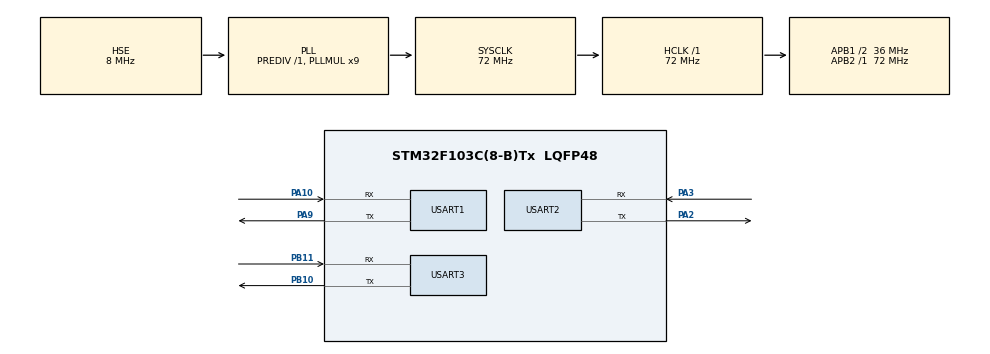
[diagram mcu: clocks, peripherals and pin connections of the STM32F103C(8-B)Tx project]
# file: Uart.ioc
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Mcu.Family=STM32F1
Mcu.Name=STM32F103C(8-B)Tx
Mcu.Package=LQFP48
NVIC.PriorityGroup=NVIC_PRIORITYGROUP_4
PA10.Mode=Asynchronous
PA10.Signal=USART1_RX
PA2.Mode=Asynchronous
PA2.Signal=USART2_TX
PA3.Mode=Asynchronous
PA3.Signal=USART2_RX
PA9.Mode=Asynchronous
PA9.Signal=USART1_TX
PB10.Mode=Asynchronous
PB10.Signal=USART3_TX
PB11.Mode=Asynchronous
PB11.Signal=USART3_RX
PC14-OSC32_IN.Mode=LSE-External-Oscillator
PC14-OSC32_IN.Signal=RCC_OSC32_IN
PC15-OSC32_OUT.Mode=LSE-External-Oscillator
PC15-OSC32_OUT.Signal=RCC_OSC32_OUT
PD0-OSC_IN.Mode=HSE-External-Oscillator
PD0-OSC_IN.Signal=RCC_OSC_IN
PD1-OSC_OUT.Mode=HSE-External-Oscillator
PD1-OSC_OUT.Signal=RCC_OSC_OUT
ProjectManager.HeapSize=0x200
ProjectManager.StackSize=0x400
ProjectManager.TargetToolchain=STM32CubeIDE
RCC.AHBFreq_Value=72000000
RCC.APB1CLKDivider=RCC_HCLK_DIV2
RCC.APB1Freq_Value=36000000
RCC.APB1TimFreq_Value=72000000
RCC.APB2Freq_Value=72000000
RCC.APB2TimFreq_Value=72000000
RCC.HCLKFreq_Value=72000000
RCC.PLLMUL=RCC_PLL_MUL9
RCC.PLLSourceVirtual=RCC_PLLSOURCE_HSE
RCC.SYSCLKFreq_VALUE=72000000
RCC.SYSCLKSource=RCC_SYSCLKSOURCE_PLLCLK
RCC.USBFreq_Value=72000000
USART1.VirtualMode=VM_ASYNC
USART2.VirtualMode=VM_ASYNC
USART3.VirtualMode=VM_ASYNC
VP_SYS_VS_ND.Mode=No_Debug
board=custom

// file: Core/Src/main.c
/* USER CODE BEGIN Header */
/**
  ******************************************************************************
  * @file           : main.c
  * @brief          : Main program body
  ******************************************************************************
  * @attention
  *
  * Copyright (c) 2025 STMicroelectronics.
  * All rights reserved.
  *
  * This software is licensed under terms that can be found in the LICENSE file
  * in the root directory of this software component.
  * If no LICENSE file comes with this software, it is provided AS-IS.
  *
  ******************************************************************************
  */
/* USER CODE END Header */
#include "main.h"

/* USER CODE BEGIN Includes */
#include <stdio.h>
#include <string.h>
#include <stdint.h>
/* USER CODE END Includes */

UART_HandleTypeDef huart1;
UART_HandleTypeDef huart2;
UART_HandleTypeDef huart3;

/* USER CODE BEGIN PV */
uint8_t rx_buffer[256];
uint8_t rx_data;
char tx_buffer[256];
/* USER CODE END PV */

void SystemClock_Config(void);
static void MX_GPIO_Init(void);
static void MX_USART1_UART_Init(void);
static void MX_USART2_UART_Init(void);
static void MX_USART3_UART_Init(void);

/* USER CODE BEGIN 0 */

void UART_Print(UART_HandleTypeDef *huart, const char *msg)
{
    HAL_UART_Transmit(huart, (uint8_t*)msg, strlen(msg), HAL_MAX_DELAY);
}

void UART_PrintInfo(void)
{
    sprintf(tx_buffer, "\r\n========================================\r\n");
    UART_Print(&huart1, tx_buffer);

    sprintf(tx_buffer, "STM32F103C8T6 UART Communication Test\r\n");
    UART_Print(&huart1, tx_buffer);

    sprintf(tx_buffer, "========================================\r\n");
    UART_Print(&huart1, tx_buffer);

    sprintf(tx_buffer, "USART1: 115200 baud, 8N1 - Primary\r\n");
    UART_Print(&huart1, tx_buffer);

    sprintf(tx_buffer, "USART2: 115200 baud, 8N1 - Secondary\r\n");
    UART_Print(&huart1, tx_buffer);

    sprintf(tx_buffer, "USART3: 115200 baud, 8N1 - Tertiary\r\n");
    UART_Print(&huart1, tx_buffer);

    sprintf(tx_buffer, "========================================\r\n");
    UART_Print(&huart1, tx_buffer);

    sprintf(tx_buffer, "Ready! Send data to test echo...\r\n\r\n");
    UART_Print(&huart1, tx_buffer);
}

void HAL_UART_RxCpltCallback(UART_HandleTypeDef *huart)
{
    if(huart->Instance == USART1)
    {
        // Echo back on USART1
        HAL_UART_Transmit(&huart1, &rx_data, 1, 10);

        // Also forward to USART2 and USART3
        HAL_UART_Transmit(&huart2, &rx_data, 1, 10);
        HAL_UART_Transmit(&huart3, &rx_data, 1, 10);

        // Re-enable receive interrupt
        HAL_UART_Receive_IT(&huart1, &rx_data, 1);
    }
    else if(huart->Instance == USART2)
    {
        // Echo back on USART2
        HAL_UART_Transmit(&huart2, &rx_data, 1, 10);
        HAL_UART_Receive_IT(&huart2, &rx_data, 1);
    }
    else if(huart->Instance == USART3)
    {
        // Echo back on USART3
        HAL_UART_Transmit(&huart3, &rx_data, 1, 10);
        HAL_UART_Receive_IT(&huart3, &rx_data, 1);
    }
}

/* USER CODE END 0 */

int main(void)
{

  /* MCU Configuration--------------------------------------------------------*/

  /* Reset of all peripherals, Initializes the Flash interface and the Systick. */
  HAL_Init();

  /* Configure the system clock */
  SystemClock_Config();

  /* Initialize all configured peripherals */
  MX_GPIO_Init();
  MX_USART1_UART_Init();
  MX_USART2_UART_Init();
  MX_USART3_UART_Init();
  /* USER CODE BEGIN 2 */

  // Print UART information and startup message
  HAL_Delay(100);
  UART_PrintInfo();

  // Enable UART receive interrupts for all UARTs
  HAL_UART_Receive_IT(&huart1, &rx_data, 1);
  HAL_UART_Receive_IT(&huart2, &rx_data, 1);
  HAL_UART_Receive_IT(&huart3, &rx_data, 1);

  /* USER CODE END 2 */

  /* Infinite loop */
  while (1)
  {

  }
}

void SystemClock_Config(void)
{
  RCC_OscInitTypeDef RCC_OscInitStruct = {0};
  RCC_ClkInitTypeDef RCC_ClkInitStruct = {0};

  /** Initializes the RCC Oscillators according to the specified parameters
  * in the RCC_OscInitTypeDef structure.
  */
  RCC_OscInitStruct.OscillatorType = RCC_OSCILLATORTYPE_HSE;
  RCC_OscInitStruct.HSEState = RCC_HSE_ON;
  RCC_OscInitStruct.HSEPredivValue = RCC_HSE_PREDIV_DIV1;
  RCC_OscInitStruct.HSIState = RCC_HSI_ON;
  RCC_OscInitStruct.PLL.PLLState = RCC_PLL_ON;
  RCC_OscInitStruct.PLL.PLLSource = RCC_PLLSOURCE_HSE;
  RCC_OscInitStruct.PLL.PLLMUL = RCC_PLL_MUL9;
  if (HAL_RCC_OscConfig(&RCC_OscInitStruct) != HAL_OK)
  {
    Error_Handler();
  }

  /** Initializes the CPU, AHB and APB buses clocks
  */
  RCC_ClkInitStruct.ClockType = RCC_CLOCKTYPE_HCLK|RCC_CLOCKTYPE_SYSCLK
                              |RCC_CLOCKTYPE_PCLK1|RCC_CLOCKTYPE_PCLK2;
  RCC_ClkInitStruct.SYSCLKSource = RCC_SYSCLKSOURCE_PLLCLK;
  RCC_ClkInitStruct.AHBCLKDivider = RCC_SYSCLK_DIV1;
  RCC_ClkInitStruct.APB1CLKDivider = RCC_HCLK_DIV2;
  RCC_ClkInitStruct.APB2CLKDivider = RCC_HCLK_DIV1;

  if (HAL_RCC_ClockConfig(&RCC_ClkInitStruct, FLASH_LATENCY_2) != HAL_OK)
  {
    Error_Handler();
  }
}

static void MX_USART1_UART_Init(void)
{

  huart1.Instance = USART1;
  huart1.Init.BaudRate = 115200;
  huart1.Init.WordLength = UART_WORDLENGTH_8B;
  huart1.Init.StopBits = UART_STOPBITS_1;
  huart1.Init.Parity = UART_PARITY_NONE;
  huart1.Init.Mode = UART_MODE_TX_RX;
  huart1.Init.HwFlowCtl = UART_HWCONTROL_NONE;
  huart1.Init.OverSampling = UART_OVERSAMPLING_16;
  if (HAL_UART_Init(&huart1) != HAL_OK)
  {
    Error_Handler();
  }

}

static void MX_USART2_UART_Init(void)
{

  huart2.Instance = USART2;
  huart2.Init.BaudRate = 115200;
  huart2.Init.WordLength = UART_WORDLENGTH_8B;
  huart2.Init.StopBits = UART_STOPBITS_1;
  huart2.Init.Parity = UART_PARITY_NONE;
  huart2.Init.Mode = UART_MODE_TX_RX;
  huart2.Init.HwFlowCtl = UART_HWCONTROL_NONE;
  huart2.Init.OverSampling = UART_OVERSAMPLING_16;
  if (HAL_UART_Init(&huart2) != HAL_OK)
  {
    Error_Handler();
  }

}

static void MX_USART3_UART_Init(void)
{

  huart3.Instance = USART3;
  huart3.Init.BaudRate = 115200;
  huart3.Init.WordLength = UART_WORDLENGTH_8B;
  huart3.Init.StopBits = UART_STOPBITS_1;
  huart3.Init.Parity = UART_PARITY_NONE;
  huart3.Init.Mode = UART_MODE_TX_RX;
  huart3.Init.HwFlowCtl = UART_HWCONTROL_NONE;
  huart3.Init.OverSampling = UART_OVERSAMPLING_16;
  if (HAL_UART_Init(&huart3) != HAL_OK)
  {
    Error_Handler();
  }

}

static void MX_GPIO_Init(void)
{

  /* GPIO Ports Clock Enable */
  __HAL_RCC_GPIOC_CLK_ENABLE();
  __HAL_RCC_GPIOD_CLK_ENABLE();
  __HAL_RCC_GPIOA_CLK_ENABLE();
  __HAL_RCC_GPIOB_CLK_ENABLE();

}

void Error_Handler(void)
{
  __disable_irq();
  while (1)
  {
  }
}
